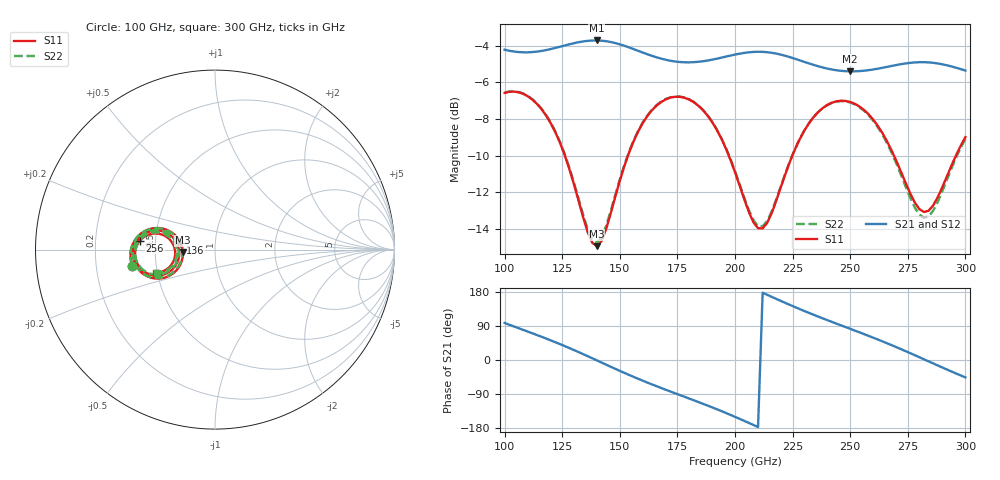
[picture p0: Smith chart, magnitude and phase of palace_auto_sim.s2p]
#  GHZ S DB R 50
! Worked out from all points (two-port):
!   101 points, 100 GHz to 300 GHz, reference 50 ohm
!   highest |S21| = -3.72 dB at 140 GHz (marker M1); lowest = -5.4 dB at 250 GHz (marker M2)
!   |S21| within 3 dB of the highest: start of sweep to end of sweep
!   lowest |S11| = -14.9 dB at 140 GHz (marker M3), VSWR 1.44, Z = 34.8 - j1.03 ohm
!   |S11| at or under -10 dB: 126.2 GHz to 153.6 GHz (27.4 GHz wide, 19.6 % of centre); 197.3 GHz to 224.9 GHz (27.61 GHz wide, 13.1 % of centre); 269 GHz to 295.9 GHz (26.89 GHz wide, 9.52 % of centre)
!   |S22| runs from -14.7 to -6.5 dB; largest |S21 - S12| = 9.4e-14
!   S11 on the Smith chart (normalised r, x): 100 GHz: 0.36, -0.08; 136 GHz: 0.68, +0.06; 256 GHz: 0.41, +0.05; 300 GHz: 0.49, -0.14
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100  -6.58 -169.0  -4.23 97.7  -4.23 97.7  -6.56 -169.0
108  -6.63 179.1  -4.37 79.6  -4.37 79.6  -6.61 179.2
118  -7.81 165.5  -4.25 56.6  -4.25 56.6  -7.78 165.7
126  -9.94 158.2  -4.00 36.9  -4.00 36.9  -9.88 158.6
134  -13.32 163.0  -3.78 15.7  -3.78 15.7  -13.18 163.5
136  -14.15 168.4  -3.75 10.2  -3.75 10.2  -13.97 168.8
140  -14.93 -175.4  -3.72 -0.9  -3.72 -0.9  -14.72 -175.6
146  -13.17 -154.7  -3.81 -17.7  -3.81 -17.7  -13.03 -155.5
154  -9.84 -150.9  -4.10 -39.3  -4.10 -39.3  -9.79 -151.6
168  -7.07 -166.2  -4.72 -73.9  -4.72 -73.9  -7.05 -166.7
184  -7.27 172.6  -4.89 -110.7  -4.89 -110.7  -7.25 172.3
200  -10.90 160.9  -4.49 -150.0  -4.49 -150.0  -10.84 160.7
208  -13.63 173.3  -4.35 -171.5  -4.35 -171.5  -13.52 173.0
212  -13.96 -173.3  -4.34 177.5  -4.34 177.5  -13.84 -173.9
224  -10.28 -153.8  -4.64 144.9  -4.64 144.9  -10.24 -154.8
234  -7.92 -160.9  -5.05 119.7  -5.05 119.7  -7.91 -161.8
250  -7.08 -180.0  -5.41 82.3  -5.41 82.3  -7.10 179.1
256  -7.51 173.2  -5.37 68.3  -5.37 68.3  -7.55 172.1
268  -9.72 164.2  -5.11 39.1  -5.11 39.1  -9.84 162.9
282  -13.07 -177.7  -4.91 1.9  -4.91 1.9  -13.38 -178.0
290  -11.71 -160.4  -5.02 -19.8  -5.02 -19.8  -11.93 -159.7
300  -8.99 -158.7  -5.36 -45.9  -5.36 -45.9  -9.08 -158.0
